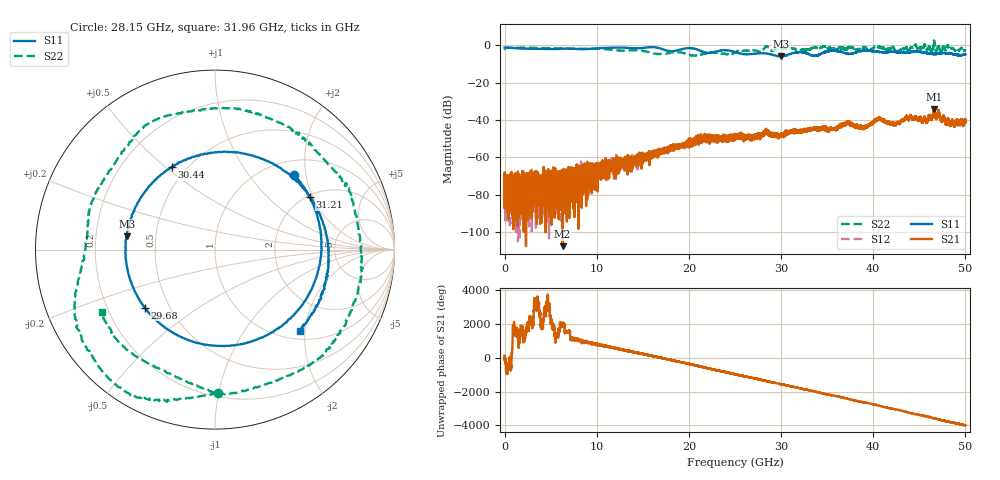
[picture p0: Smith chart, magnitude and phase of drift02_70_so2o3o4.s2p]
!Created with skrf (http://scikit-rf.org).
# Hz S RI R 50.0
!freq ReS11 ImS11 ReS21 ImS21 ReS12 ImS12 ReS22 ImS22
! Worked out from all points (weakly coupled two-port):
!   10001 points, 300 kHz to 50 GHz, reference 50 ohm
!   highest |S21| = -34.11 dB at 46.61 GHz (marker M1); lowest = -107.5 dB at 6.295 GHz (marker M2)
!   lowest |S11| = -6.1 dB at 30.03 GHz (marker M3), VSWR 2.98, Z = 16.9 + j3.28 ohm
!   |S11| at or under -10 dB: nowhere
!   |S22| runs from -5.7 to 2.5 dB; largest |S21 - S12| = 0.0033
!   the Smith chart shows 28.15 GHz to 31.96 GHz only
!   S11 on the Smith chart (normalised r, x): 28.15 GHz: 1.31, +1.71; 29.68 GHz: 0.36, -0.32; 30.44 GHz: 0.42, +0.53; 31.21 GHz: 2.06, +1.90; 31.96 GHz: 1.19, -1.87
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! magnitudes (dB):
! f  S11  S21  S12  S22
! 300 kHz  -1.3  -78.7  -75.9  -2.1
! 6.295 GHz  -1.9  -107.5  -68.2  -1.8
! 8.335 GHz  -2.2  -75.6  -69.1  -1.9
! 16.67 GHz  -1.4  -57.5  -57.1  -4.7
! 21.45 GHz  -3.4  -50.4  -49.3  -4.8
! 25 GHz  -3.7  -49.4  -50.1  -3.9
! 28.15 GHz  -4.4  -46.6  -47.1  -2.0
! 29.68 GHz  -5.9  -47.9  -48.5  -2.1
! 30.03 GHz  -6.1  -48.4  -48.1  -2.0
! 30.44 GHz  -5.7  -48.1  -47.1  -1.8
! 31.21 GHz  -4.4  -46.2  -46.3  -1.7
! 31.96 GHz  -3.7  -46.0  -45.9  -2.8
! 33.34 GHz  -5.5  -44.5  -44.8  -1.6
! 35.59 GHz  -3.0  -44.8  -44.7  -1.6
! 37.31 GHz  -4.7  -41.2  -41.2  -1.4
! 38.93 GHz  -3.0  -44.1  -43.7  -1.4
! 40.57 GHz  -3.6  -39.1  -39.3  -1.0
! 41.67 GHz  -3.6  -41.0  -41.2  -1.8
! 45.64 GHz  -4.0  -39.6  -39.3  -0.1
! 46.61 GHz  -4.7  -34.1  -34.7  2.5
! 48.11 GHz  -4.3  -40.0  -39.9  -0.5
! 50 GHz  -4.9  -40.7  -39.8  -2.7
